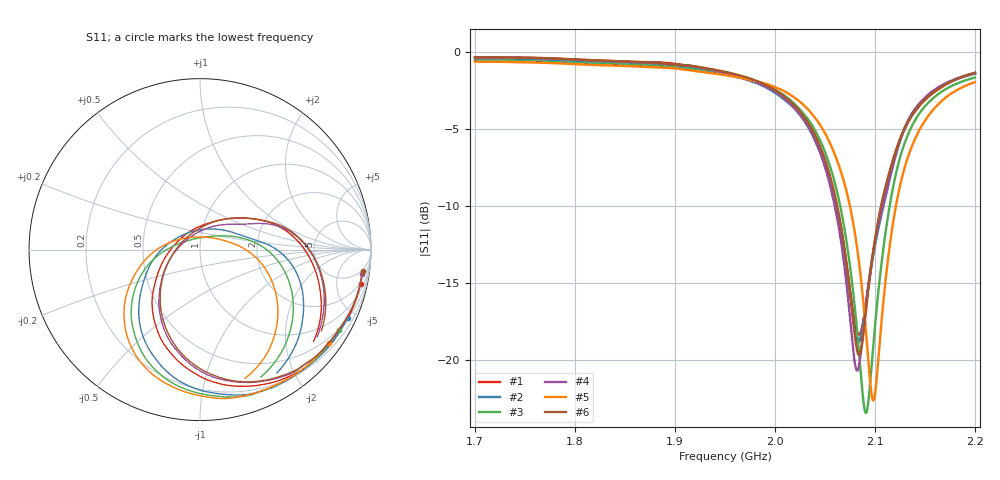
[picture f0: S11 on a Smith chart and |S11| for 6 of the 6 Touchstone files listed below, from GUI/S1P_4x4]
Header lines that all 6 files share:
# Hz S RI R 50
! CMT, CMT808U, 21440046, 21.4.3/4
! Data: Format (Calibration Info)
! Freq	S11:Re/Im(F2)
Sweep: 1.7 GHz to 2.2 GHz
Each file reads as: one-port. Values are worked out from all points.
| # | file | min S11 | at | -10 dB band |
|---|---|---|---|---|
| 1 | element1.s1p | -18.4 dB | 2.084 GHz | 45.48 MHz wide |
| 2 | element2.s1p | -18.8 dB | 2.083 GHz | 46.87 MHz wide |
| 3 | element3.s1p | -23.4 dB | 2.091 GHz | 49.44 MHz wide |
| 4 | element6.s1p | -20.7 dB | 2.082 GHz | 48.21 MHz wide |
| 5 | element9.s1p | -22.6 dB | 2.099 GHz | 45.97 MHz wide |
| 6 | element12.s1p | -19.7 dB | 2.084 GHz | 43.79 MHz wide |
